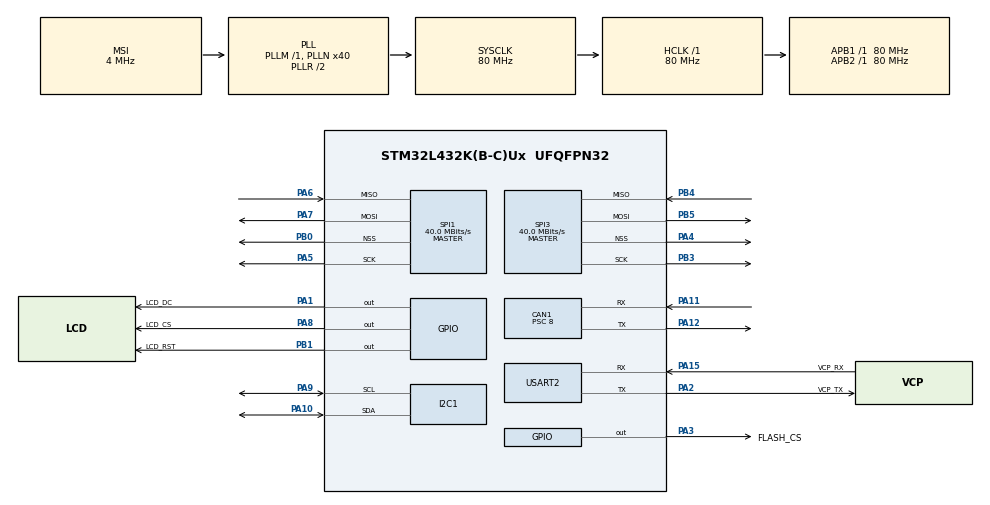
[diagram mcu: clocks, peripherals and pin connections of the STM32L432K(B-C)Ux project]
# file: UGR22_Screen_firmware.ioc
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Mcu.Family=STM32L4
Dma.SPI1_TX.1.Priority=DMA_PRIORITY_LOW
VP_RCC_LSE.Mode=CRS SYNC Source LSE
PA6.Mode=Full_Duplex_Master
RCC.CortexFreq_Value=80000000
SPI3.Direction=SPI_DIRECTION_2LINES
SPI3.VirtualType=VM_MASTER
SPI1.VirtualType=VM_MASTER
SPI3.NSSPMode=SPI_NSS_PULSE_ENABLE
PA0.GPIO_Label=MCO [High speed clock in]
Dma.SPI1_TX.1.PeriphInc=DMA_PINC_DISABLE
PA11.Mode=Master
PA15\ (JTDI).Signal=USART2_RX
PC15-OSC32_OUT\ (PC15).Mode=LSE-External-Oscillator
RCC.SYSCLKSource=RCC_SYSCLKSOURCE_PLLCLK
ProjectManager.StackSize=0x400
PB3\ (JTDO-TRACESWO).Signal=SPI3_SCK
PC14-OSC32_IN\ (PC14).Mode=LSE-External-Oscillator
NVIC.DMA1_Channel3_IRQn=true\:0\:0\:false\:false\:true\:false\:true
PA14\ (JTCK-SWCLK).Signal=SYS_JTCK-SWCLK
PA15\ (JTDI).Mode=Asynchronous
PA12.Signal=CAN1_TX
PA4.Mode=NSS_Signal_Hard_Output
Dma.USART2_RX.0.Priority=DMA_PRIORITY_LOW
SPI1.Direction=SPI_DIRECTION_2LINES
SPI3.VirtualNSS=VM_NSSHARD
Dma.USART2_RX.0.PeriphDataAlignment=DMA_PDATAALIGN_BYTE
RCC.HCLKFreq_Value=80000000
RCC.APB2TimFreq_Value=80000000
SPI1.CalculateBaudRate=40.0 MBits/s
RCC.AHBFreq_Value=80000000
SPI3.DataSize=SPI_DATASIZE_8BIT
Dma.SPI1_TX.1.PeriphDataAlignment=DMA_PDATAALIGN_BYTE
RCC.HSE_VALUE=8000000
USART2.VirtualMode-Asynchronous=VM_ASYNC
RCC.PLLMUL=RCC_PLLMUL_4
Dma.USART2_RX.0.MemDataAlignment=DMA_MDATAALIGN_BYTE
Dma.SPI1_TX.1.Mode=DMA_NORMAL
PB1.GPIO_Label=LCD_RST
PB5.Mode=Full_Duplex_Master
SPI1.DataSize=SPI_DATASIZE_8BIT
Dma.USART2_RX.0.Instance=DMA1_Channel6
PA8.Signal=GPIO_Output
SPI1.VirtualNSS=VM_NSSHARD
PA0.Signal=RCC_CK_IN
CAN1.Prescaler=8
Mcu.Package=UFQFPN32
PB1.Signal=GPIO_Output
PA6.Signal=SPI1_MISO
Dma.USART2_RX.0.PeriphInc=DMA_PINC_DISABLE
SPI3.Mode=SPI_MODE_MASTER
PA2.GPIO_Label=VCP_TX
PA10.Signal=I2C1_SDA
Dma.Request1=SPI1_TX
RCC.APB1TimFreq_Value=80000000
PA13\ (JTMS-SWDIO).Signal=SYS_JTMS-SWDIO
Dma.Request0=USART2_RX
SPI1.BaudRatePrescaler=SPI_BAUDRATEPRESCALER_2
Dma.SPI1_TX.1.Instance=DMA1_Channel3
RCC.HSI48_VALUE=48000000
PA3.Signal=GPIO_Output
CAN1.CalculateTimeQuantum=100.0
PA5.Mode=Full_Duplex_Master
RCC.MSI_VALUE=4000000
PA14\ (JTCK-SWCLK).Mode=Serial_Wire
NVIC.DMA1_Channel6_IRQn=true\:0\:0\:false\:false\:true\:false\:true
Dma.SPI1_TX.1.MemInc=DMA_MINC_ENABLE
PA7.Mode=Full_Duplex_Master
PA10.Mode=I2C
Dma.USART2_RX.0.Direction=DMA_PERIPH_TO_MEMORY
PC15-OSC32_OUT\ (PC15).Signal=RCC_OSC32_OUT
PA14\ (JTCK-SWCLK).GPIO_Label=SWCLK
Dma.SPI1_TX.1.Direction=DMA_MEMORY_TO_PERIPH
Dma.USART2_RX.0.Mode=DMA_CIRCULAR
RCC.HSI16_VALUE=16000000
PA9.Mode=I2C
Dma.SPI1_TX.1.MemDataAlignment=DMA_MDATAALIGN_BYTE
PA8.GPIO_Label=LCD_CS
CAN1.BS2=CAN_BS2_2TQ
CAN1.BS1=CAN_BS1_7TQ
ProjectManager.TargetToolchain=STM32CubeIDE
PA9.Signal=I2C1_SCL
I2C1.Timing=0x10909CEC
RCC.USBFreq_Value=16000000
PA1.Signal=GPIO_Output
PA5.Signal=SPI1_SCK
PB0.Mode=NSS_Signal_Hard_Output
board=NUCLEO-L432KC
RCC.VCOOutputFreq_Value=160000000
RCC.APB2Freq_Value=80000000
SPI3.CalculateBaudRate=40.0 MBits/s
PA13\ (JTMS-SWDIO).GPIO_Label=SWDIO
SPI1.Mode=SPI_MODE_MASTER
PB3\ (JTDO-TRACESWO).Mode=Full_Duplex_Master
RCC.ADCFreq_Value=16000000
SPI3.BaudRatePrescaler=SPI_BAUDRATEPRESCALER_2
PA1.GPIO_Label=LCD_DC
PB4\ (NJTRST).Mode=Full_Duplex_Master
PA15\ (JTDI).GPIO_Label=VCP_RX
Mcu.Name=STM32L432K(B-C)Ux
Dma.USART2_RX.0.MemInc=DMA_MINC_ENABLE
PA2.Signal=USART2_TX
PA13\ (JTMS-SWDIO).Mode=Serial_Wire
PA4.Signal=SPI3_NSS
RCC.SYSCLKFreq_VALUE=80000000
PB5.Signal=SPI3_MOSI
PA12.Mode=Master
PC14-OSC32_IN\ (PC14).Signal=RCC_OSC32_IN
PA11.Signal=CAN1_RX
ProjectManager.HeapSize=0x200
RCC.HSI_VALUE=16000000
NVIC.PriorityGroup=NVIC_PRIORITYGROUP_4
RCC.PLLN=40
PA2.Mode=Asynchronous
RCC.APB1Freq_Value=80000000
PB0.Signal=SPI1_NSS
NVIC.CAN1_RX0_IRQn=true\:0\:0\:false\:false\:true\:true\:true
PA3.GPIO_Label=FLASH_CS
PA7.Signal=SPI1_MOSI
PB4\ (NJTRST).Signal=SPI3_MISO

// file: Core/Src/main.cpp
/* USER CODE BEGIN Header */
/**
  ******************************************************************************
  * @file           : main.c
  * @brief          : Main program body
  ******************************************************************************
  * @attention
  *
  * <h2><center>&copy; Copyright (c) 2020 STMicroelectronics.
  * All rights reserved.</center></h2>
  *
  * This software component is licensed by ST under BSD 3-Clause license,
  * the "License"; You may not use this file except in compliance with the
  * License. You may obtain a copy of the License at:
  *                        opensource.org/licenses/BSD-3-Clause
  *
  ******************************************************************************
  */
/* USER CODE END Header */
#include "main.h"

/* USER CODE BEGIN Includes */
//extern "C" {
//#include "MY_ILI9341.h"
//}
#include "S25FL.h"
#include "UGRScreen.h"
#include "UGRScreenField.h"
#include "Vladimir24pt.h"
#include "FreeSans20pt7b.h"
#include "FreeSans10pt7b.h"
#include "FreeSans35pt7b.h"
/* USER CODE END Includes */

/* USER CODE BEGIN PTD */

uint8_t buf[ILI9341_WIDTH*2];

uint8_t col_ready = 0;
uint8_t SPI_DMA_BUSY = 0;

static struct {
  unsigned int 	 width;
  unsigned int 	 height;
  unsigned int 	 bytes_per_pixel; /* 2:RGB16, 3:RGB, 4:RGBA */
  unsigned char	 pixel_data[40 * 30 * 2 + 1];
} meme = {
  40, 30, 2,
  "\206I\246Y\346a\346a$\061\003)\004\061$\071\205I\205I\346YGjgr\310\212\250\202\310"
  "\212g\202'j\305Y\006z\314\323\312\343\353\343\014\344J\313Gz#\071\003)#)#)\003)\343"
  "\040\342\030\303\030\343\030\343\040\245Y\252\303+\334\013\334\205I\206Q\306Q\003"
  "\061\343($\071\205I\347a'rGrGrGzgz\247\202\207\202\207\202FzFzGz\345i\310\242"
  "J\313\252\343\313\333g\202\204I\244I'b\245Q\245I\204A\245I\346Y\245Q\342"
  "\060\303\040\343(&r\014\314\013\334eAEA\004\061\003)E\071\306Y\346a\346a\306a\305Y"
  "\305Y\305Y\305Y\345a\006j\006j\006b\006jGzgz\006r\250\232)\273\350\242\006j\247\202f"
  "z\345a\204IDAC\071$A\205Q&r\310\222Gr$A\003\071\250\222\313\323eI\004\071$\071eA"
  "\246Q\246Y\245Y\245Y\205Q\205I\204QdIDIdI\245Q\205Q\204I\245Y\006jgzGr&r\310"
  "\232\351\232\250\212\250\212gz\006b\245QCA$A\004\071$\071#A\204ag\212\250\222\006"
  "jcQJ\263EAD\071\205I\205Q\205Q\205Q\205I\204I\245Q\245Q\245QdIdIDIDICACA\204"
  "I\245Q\006jhz&rg\202\310\212\310\212gzgrFj&j\305a\204QdICA#\071$AeQ\346qG\202"
  "\245a\351\222eAeIeIeIeIDAeI\246YGr*\223\253\253\354\253\253\233gr\204IC\071"
  "D\071DA\204I\305Y&jfz\207\202\250\212\247\202Fr\247\202\211\253l\314.\335"
  "o\335\215\304)\233\305adIdI\244Q\006rgz\011\213\205AeADAD\071$\061\003\061D\071\205"
  "AGb\210r\310z\011\203j\213\213\213Gb#\071\003\061#\071dA\244I\345Y&r\207\202\350"
  "\212\247\202\207\202\212\263,\324L\314\315\274/\275\256\264\313\253*\223"
  "\305YDA\205I\306a'j\251r\003!$!e\061\343\040\343\040\003!\343\040\003)$)D)$)\004!\003)"
  "\343\040\343\040\303\040\343(#\061d\071\245I\345Q\346ah\202\011\223\207\202\006j"
  "\245Q\003\071\004\061\303\040\343\040\003!\003!\003!\343\030\344\030\004!\303\030\303\040\343"
  "\040\004)\004!\004\031\004)\205\071\347Q\347Y\010b\007Z\306I\206\071HJ\205\061\305\071\204"
  "\061$)\003)\343\040\343\040\204\061\210JhJ\251ZGZ\003)\003!D\061d\061D)d\061\245\071\245"
  "I'b\250rGb\245A$!\003!\343\030\302\030eI\205A\343\040$)$\061D\071E\071\205A\003)\343"
  "\040\303\030\306\061\306\061\253{\314\203\352b\245A\205A\205\071\006R\207r\310\212"
  "\247z&RD)\246\071\205\061\343\030\343\030\343\030iJ\305\071\210R&J\345A\246AD\061"
  "\003!\306A\206\071\307Y\347Ye\071\346A\246IfA\206I\347Y\346Q\007Zhr\210r\350\202"
  "\314\253\313\253\014\264\313\243Gb\210b\350\202I\253\013\324L\324\254\233g"
  "b\313\243\011\213\250\202+\213+\203\311r\012{*{k{\213\203\012shZ\005Z\314\253"
  "\245A\347Q\306Q\306I\306I\306Y\346a\006b\346a\007jgz\250\212I\243,\324\315\344"
  "\015\335\015\325\016\325\310r\210rj\263\013\324.\355\016\345\254\233\250jo\355"
  "\015\345+\304\212\263\350\232\010\233\350\222\011\223\310\212\206z\350z\212"
  "\233\252\243\215\314\310rj\233hr\214\223'j\213\263j\303J\263\011\253J\273"
  "\313\313,\324\215\344\315\344\355\344\314\334\214\334m\314\245IFj\353\323"
  "\214\344\217\355\217\355gj\245\071\014\304l\344\316\354\016\355.\355.\345\015"
  "\335\254\314\354\324m\315\216\325n\325K\264o\325I{,\344\314\303K\243*\213"
  "\354\303l\354l\354l\354\215\354,\344\313\323\253\303\212\263j\263\010\253"
  "\250\222\006j\205\071\210z\252\323\312\333l\354\255\354\212\253\306A\347YG\202"
  "g\222\011\253\313\303l\334\315\344\254\344\355\334\014\325\014\315\015\315\312"
  "\243\352\233l\244\351\272\012\303k\313\312\242\346i\213\253,\324m\334L\334"
  "\212\303\011\253\210\212hrGr\345Y\204A\305Q\006j\210\222\351\262\253\323m\354"
  "\255\344\255\334\313\273\012\223\245I\245I\346a\006rg\212\247\242)\273\212\303"
  "\313\313\313\313)\233gr\253\243l\314(\222H\232H\232\210\232\251\232'r\346"
  "a\306Y\346Y\346a\306Y\346Y\306Q\305Q\245I$I\246a\305i\305ag\202*\273,\334"
  "\317\344m\344\013\354\015\344\351\232dADAdA\204I\245Q\305Y\006jGzgzI\233\313"
  "\303\353\313\352\313\306q\346y\007z\007z\347q\306i\205YdQDI$A$A$A#ADA#\071\343"
  "\070$ADIdI\346aG\212\210\232\351\252\011\263\011\273\254\313\352\242#A\004\071"
  "\003\071\003\071\003\071$AdI\346af\202(\253\211\303\251\313\252\323\205Y\205a\246"
  "i\306i\306a\306aDI#\071$\071$\071\004\061$\071\245I\246I\003\061$\061$A\004\071\004\071#A"
  "DQ\306i\007z\007r\245Y#I\351\202\306Q\343(\003\061#\071#\071\003\071\003\071#A\245Q\006r\247"
  "\232I\303j\323EQeY\245a\347q\007j\346a$\071\003)\004)\343\040\303\030\343\040\343\040"
  "\343\040\302\030\303\030\302\030\303\030\343\040\343(\003\061\003\061\343(\343(\003)\205"
  "AGjgjD\061\343\040\342\040$\071$\071$\071\003\071#A\205YFr\247\232\011\273DQeQ\245"
  "a\007r'r\205I\003)\303\030\303\030\303\030\303\030\343\030\303\030\303\030\302\030\303"
  "\030\303\030\303\020\303\030\303\030\303\030\303\030\343\030\343\040D\071\205I\245"
  "I\305Q\245I\205AD\071\302\040\343\040D\071$A$ADI\305aFzf\212DIdQ\306iGz\007b\003"
  "\061\302\030\303\030\343\030\003!D)$)\004)\004)\343\040\003!\343\040\303\040\242\040\242"
  "\030\303\030\343\040e\071\306Q\205I\244I\006Z\245AD\061d\071#)\343\030\303\030\003)D"
  "A$A#AdQ\005j&zDIdQ\306iH\202\246Q\003!\343\040\004)\004\061\004\061e\071\206\071\206\071"
  "\246\071\246\071\205\061\306AD\061\246\071e\071D\061\245A\245AGZ\351rM\234M\244"
  ".\224e\061\303\030\303\030\303\040\303\030\303\040\004\071$\071$ADI\305a\346iDIeQ\346"
  "ihz\245Q$\061$)d\071D\071\004\061\344\060\004\061D\061e\071e\061\205\071\306\071\306\071"
  "\306\071\306A\007J\210R\311b,s\012k)s\350jhR\343\040\342\040\343\040\344\040\303"
  "\030\303\040\004\061#\071#\071DI\205Y\205aEIeQ&r\010\243-\314\250\212\351\202*\223"
  "\012\213$\071\004\061\344\060\343\060\343($)\205\061\205\061\205\061\306A\211Z\351"
  "jj{\253\213\013\224\256\254\216\254P\315\314\263\352\272\311\232\342\070\343"
  "\040\302\040\343\040\343(\003\061#\071dI\205YdQeI\245Y\250\222\014\324\215\354L\324"
  "\207\212gzj\243\305Q$\061$\061\003\061\343\060\343\060$A\007j\007j\311r\213\203k\203"
  "\216\254\014\244\017\305\316\314L\314\213\323J\343j\333\312\313J\243&b&bFb"
  "CA$I\245Y\345a\245YdQEI\245QG\202\313\313\212\303\014\314j\243&j\250\212\254"
  "\253\250rDA\003\061#\061#\071DQ&\202\310\252*\303*\303)\303*\313j\323\253\333"
  "\213\343J\343\351\322\011\273\013\314l\334I\233\345Y%r\313\273j\253\310\212"
  "Fr\006j\245Y\245QD\071eA\205Y\210\212\351\232\250\222\011\233\006bgrI\243j\253"
  "j\243J\243J\233\210z\305YDI#I#Q\205i&zG\212h\212G\202\346q\006r)\233l\314\254"
  "\334L\324\207z\305Q\350\212\013\304\312\273)\233Fr\345Y\305QFbD\071D\071DA\205"
  "Q(r\007j\006b\245Q\346Qgr\310\212j\253J\263\213\263\212\273J\263J\253\011\243"
  ")\253\011\243)\243I\253j\253\313\273\353\303\013\324+\324l\334,\324\350\222"
  "\204I\204Ij\243\013\304\212\253\207zFb%ZFZ\352jD\071D\071D\071DA\205I\346Q\245"
  "A\245Ad\071eA\305Y\250\202\250\212\012\243*\253k\273I\253j\263I\273I\303\211"
  "\313\353\323\013\334\013\334\013\324,\344\352\323\353\313k\253\006b\205A\207r"
  "\353\273\212\243\350\202fjFj&Z\305Q\261\254D\071D\071D\071d\071dA\205Ad\071#)"
  "\003)\003)\245I\346Y'j\250\202\311\212\012\243\010\233)\253\011\253\351\242\011\253"
  "j\273I\263\212\303j\303\212\313\252\303\350\232\305YC\071$\061\010\213i\233"
  "\350\202\207jfb%Z\204I\205a\245y",
};

unsigned char black[40 * 30 * 2 + 1];

struct DTA_CAN_Data {
	int16_t RPM = 0;
	int16_t TPS = 0;
	int16_t wTemp = 0;
	int16_t aTemp = 0;
	int16_t mapKpa = 0;
	int16_t lambdax1000 = 0;
	int16_t KPHx10 = 0;
	int16_t oKpa = 0;
	int16_t fuelKpa = 0;
	int16_t oTemp = 0;
	int16_t voltsx10 = 0;
	int16_t fuelConL_100kmx10 = 0;
	int16_t gear = 0;
	int16_t advanceDegx10 = 0;
	int16_t injectionMsx100 = 0;
	int16_t fuelConL_Hrx10 = 0;
	int16_t ana1mV = 0;
	int16_t ana2mV = 0;
	int16_t ana3mV = 0;
	int16_t camAdvx10 = 0;
	int16_t camTargx10 = 0;
	int16_t camPWMx10 = 0;
	int16_t crankErr = 0;
	int16_t camErr = 0;
	int16_t cam2advx10 = 0;
	int16_t cam2Targx10 = 0;
	int16_t cam2PWMx10 = 0;
	int16_t extern5V = 0;
	int16_t injDutyCyc = 0;
	int16_t lambdaPIDTarg = 0;
	int16_t lambdaPIDAdj = 0;
	int16_t ecuSwitches = 0;
	int16_t rdSpeed = 0;
	int16_t rudSpeed = 0;
	int16_t ldSpeed = 0;
	int16_t ludSpeed = 0;
	int16_t rightLambda = 0;
};

struct DTA_CAN_Data ecuData;

CAN_RxHeaderTypeDef pRxHeader; //declare header for message reception
CAN_RxHeaderTypeDef rxCopy;
uint8_t rxData[8];

/* USER CODE END PTD */

CAN_HandleTypeDef hcan1;

I2C_HandleTypeDef hi2c1;

SPI_HandleTypeDef hspi1;
SPI_HandleTypeDef hspi3;
DMA_HandleTypeDef hdma_spi1_tx;

UART_HandleTypeDef huart2;
DMA_HandleTypeDef hdma_usart2_rx;

/* USER CODE BEGIN PV */

void HAL_UART_RxHalfCpltCallback(UART_HandleTypeDef *huart)
{
//	col_ready = 1;
	HAL_SPI_Transmit_DMA(&hspi3, buf, ILI9341_WIDTH);
}

void HAL_UART_RxCpltCallback(UART_HandleTypeDef *huart)
{
//	col_ready = 2;
	HAL_SPI_Transmit_DMA(&hspi3, buf+ILI9341_WIDTH, ILI9341_WIDTH);
}

void HAL_SPI_TxCpltCallback(SPI_HandleTypeDef *hspi)
{
	col_ready++;
}

void HAL_CAN_RxFifo0MsgPendingCallback(CAN_HandleTypeDef *hcan)
{
	HAL_CAN_GetRxMessage(&hcan1, CAN_RX_FIFO0, &pRxHeader, rxData);
	//When in filter list mode, can hearders have no info for some reason, other than what item of the list they met, so looking for ID doesnt work
	if(pRxHeader.ExtId == 0x2000){
		ecuData.RPM = rxData[1] << 8 | rxData[0];
		ecuData.TPS = rxData[3] << 8 | rxData[2];
		ecuData.wTemp = rxData[5] << 8 | rxData[4];
		ecuData.aTemp = rxData[7] << 8 | rxData[6];
	}
	if(pRxHeader.ExtId == 0x2001){
		ecuData.mapKpa = rxData[1] << 8 | rxData[0];
		ecuData.lambdax1000 = rxData[3] << 8 | rxData[2];
		ecuData.KPHx10 = rxData[5] << 8 | rxData[4];
		ecuData.oKpa = rxData[7] << 8 | rxData[6];
	}
	if(pRxHeader.ExtId == 0x2002){
		ecuData.fuelKpa = rxData[1] << 8 | rxData[0];
		ecuData.oTemp = rxData[3] << 8 | rxData[2];
		ecuData.voltsx10 = rxData[5] << 8 | rxData[4];
		ecuData.fuelConL_100kmx10 = rxData[7] << 8 | rxData[6];
	}
	if(pRxHeader.ExtId == 0x2003){
		ecuData.gear = rxData[1] << 8 | rxData[0];
		ecuData.advanceDegx10 = rxData[3] << 8 | rxData[2];
		ecuData.injectionMsx100 = rxData[5] << 8 | rxData[4];
		ecuData.fuelConL_Hrx10 = rxData[7] << 8 | rxData[6];
	}
	if(pRxHeader.ExtId == 0x2004){
		ecuData.ana1mV = rxData[1] << 8 | rxData[0];
		ecuData.ana2mV = rxData[3] << 8 | rxData[2];
		ecuData.ana3mV = rxData[5] << 8 | rxData[4];
		ecuData.camAdvx10 = rxData[7] << 8 | rxData[6];
	}
	if(pRxHeader.ExtId == 0x2005){
		ecuData.camTargx10 = rxData[1] << 8 | rxData[0];
		ecuData.camPWMx10 = rxData[3] << 8 | rxData[2];
		ecuData.crankErr = rxData[5] << 8 | rxData[4];
		ecuData.camErr = rxData[7] << 8 | rxData[6];
	}
	if(pRxHeader.ExtId == 0x2006){
		ecuData.cam2advx10 = rxData[1] << 8 | rxData[0];
		ecuData.cam2Targx10 = rxData[3] << 8 | rxData[2];
		ecuData.cam2PWMx10 = rxData[5] << 8 | rxData[4];
		ecuData.extern5V = rxData[7] << 8 | rxData[6];
	}
	if(pRxHeader.ExtId == 0x2007){
		ecuData.injDutyCyc = rxData[1] << 8 | rxData[0];
		ecuData.lambdaPIDTarg = rxData[3] << 8 | rxData[2];
		ecuData.lambdaPIDAdj = rxData[5] << 8 | rxData[4];
		ecuData.ecuSwitches = rxData[7] << 8 | rxData[6];
	}
	if(pRxHeader.ExtId == 0x2008){
		ecuData.rdSpeed = rxData[1] << 8 | rxData[0];
		ecuData.rudSpeed = rxData[3] << 8 | rxData[2];
		ecuData.ldSpeed = rxData[5] << 8 | rxData[4];
		ecuData.ludSpeed = rxData[7] << 8 | rxData[6];
	}
	if(pRxHeader.ExtId == 0x2001){
		ecuData.rightLambda = rxData[1] << 8 | rxData[0];
	}
}

/* USER CODE END PV */

void SystemClock_Config(void);
static void MX_GPIO_Init(void);
static void MX_DMA_Init(void);
static void MX_USART2_UART_Init(void);
static void MX_SPI3_Init(void);
static void MX_SPI1_Init(void);
static void MX_CAN1_Init(void);
static void MX_I2C1_Init(void);

/* USER CODE BEGIN 0 */
S25FL flash;

CAN_FilterTypeDef sFilterConfig; //declare CAN filter structure

void drawGrid(){
	for(int w = 20; w < 240; w+= 20){
		ILI9341_drawLine(0, w, 319, w, COLOR_ORANGE);
	}
	for(int h = 20; h < 320; h+= 20){
		ILI9341_drawLine(h, 0, h, 239, COLOR_ORANGE);
	}
}
/* USER CODE END 0 */

int main(void)
{

  /* MCU Configuration--------------------------------------------------------*/

  /* Reset of all peripherals, Initializes the Flash interface and the Systick. */
  HAL_Init();

  /* Configure the system clock */
  SystemClock_Config();

  /* Initialize all configured peripherals */
  MX_GPIO_Init();
  MX_DMA_Init();
  MX_USART2_UART_Init();
  MX_SPI3_Init();
  MX_SPI1_Init();
  MX_CAN1_Init();
  MX_I2C1_Init();
  /* USER CODE BEGIN 2 */

  //Init LCD
  UGR_Screen screen = UGR_Screen(&hspi1, LCD_CS_GPIO_Port, LCD_CS_Pin, LCD_DC_GPIO_Port, LCD_DC_Pin, LCD_RST_GPIO_Port, LCD_RST_Pin);

  //Init Flash
  flash = S25FL(&hspi3, FLASH_CS_GPIO_Port, FLASH_CS_Pin);
  flash.begin();

  //DEBUG print flash max address
  uint32_t maxadd = flash.getMaxAddress();
  char str[128];
  sprintf(str, "maxadd: %d\n\r", maxadd);
  HAL_UART_Transmit(&huart2, (uint8_t*)str, strlen(str), HAL_MAX_DELAY);

  //CAN test code
  //So in 32 bit mode you have to split the 32 bit filter ID into 2 16 bit segments, to be put into IdHigh and IdLow... which are both 32 bit??? REEEE
  	uint32_t canFiltMask 	= 0x1FFFFFF0;
  	uint32_t canFiltMask_STD = canFiltMask & 0x7FF; //Separate mask into its standard and extended parts
  	uint32_t canFiltMask_IDE = canFiltMask >> 11;
  	uint32_t canFiltID 		= 0x2000;
  	uint32_t canFiltID_STD = canFiltID & 0x7FF; //Separate ID into its standard and extended parts
	uint32_t canFiltID_IDE = canFiltID >> 11;

	sFilterConfig.FilterFIFOAssignment=CAN_FILTER_FIFO0; //set fifo assignment
	sFilterConfig.FilterBank = 0;
	sFilterConfig.FilterIdHigh = (canFiltID_STD << 5) & (canFiltID_IDE >> 13);
    sFilterConfig.FilterIdLow =  (canFiltID_IDE << 3) & 0x4;
	sFilterConfig.FilterMaskIdHigh = (canFiltMask_STD << 5) & (canFiltMask_IDE >> 13);
	sFilterConfig.FilterMaskIdLow =  (canFiltMask_IDE << 3) & 0x4;
	sFilterConfig.FilterScale = CAN_FILTERSCALE_32BIT; //set filter scale
	sFilterConfig.FilterMode = CAN_FILTERMODE_IDMASK;
	sFilterConfig.FilterActivation=ENABLE;

	HAL_CAN_ConfigFilter(&hcan1, &sFilterConfig); //configure CAN filter

	HAL_CAN_Start(&hcan1); //start CAN
	HAL_CAN_ActivateNotification(&hcan1, CAN_IT_RX_FIFO0_MSG_PENDING); //enable interrupts

  /* USER CODE END 2 */

  /* Infinite loop */
  /* USER CODE BEGIN WHILE */

  //Convert stored image to usable format
  //fucking gimp is useless, this is the easiest way I can get gimp generated images to fucking work!
  uint8_t c;
  for(uint32_t i = 0; i < meme.height * meme.width * meme.bytes_per_pixel; i+=2){
	  c = meme.pixel_data[i];
	  meme.pixel_data[i] = meme.pixel_data[i+1];
	  meme.pixel_data[i+1] = c;
  }

  ILI9341_Fill(COLOR_BLACK);
  uint32_t xpos = 0;
  uint32_t ypos = 0;
//  ILI9341_SetCursorPosition(xpos, ypos, xpos + meme.width - 1,  ypos + meme.height - 1);
//  HAL_GPIO_WritePin(LCD_DC_GPIO_Port, LCD_DC_Pin, GPIO_PIN_SET);
//  HAL_SPI_Transmit_DMA(&hspi1, meme.pixel_data, meme.height * meme.width * meme.bytes_per_pixel);
//
//  while(HAL_SPI_GetState(&hspi1) != HAL_SPI_STATE_READY);
//
//  ILI9341_SetCursorPosition(ILI9341_HEIGHT - meme.width, ILI9341_WIDTH - meme.height, ILI9341_HEIGHT - 1,  ILI9341_WIDTH - 1);
//  HAL_GPIO_WritePin(LCD_DC_GPIO_Port, LCD_DC_Pin, GPIO_PIN_SET);
//  HAL_SPI_Transmit_DMA(&hspi1, meme.pixel_data, meme.height * meme.width * meme.bytes_per_pixel);
//
//  HAL_Delay(1);
//  while(HAL_SPI_GetState(&hspi1) != HAL_SPI_STATE_READY);

  UGR_ScreenField rpmTitleField = 			UGR_ScreenField(2, 0, "RPM", 				FreeSans10pt7b, &screen);
  UGR_ScreenField rpmField = 				UGR_ScreenField(10, 20, "", 				FreeSans20pt7b, &screen);
  UGR_ScreenField mphTitleField = 			UGR_ScreenField(2, 60, "MPH", 				FreeSans10pt7b, &screen);
  UGR_ScreenField mphField = 				UGR_ScreenField(10, 80, "", 				FreeSans20pt7b, &screen);
  UGR_ScreenField oilTempTitleField = 		UGR_ScreenField(2, 120, "Oil C", 			FreeSans10pt7b, &screen);
  UGR_ScreenField oilTempField = 			UGR_ScreenField(10, 140, "", 				FreeSans20pt7b, &screen);
  UGR_ScreenField oilKpaTitleField = 		UGR_ScreenField(2, 180, "Oil Kpa", 			FreeSans10pt7b, &screen);
  UGR_ScreenField oilKpaField = 			UGR_ScreenField(10, 200, "", 				FreeSans20pt7b, &screen);
  UGR_ScreenField waterTempTitleField = 	UGR_ScreenField(260, 0, "Cool C", 			FreeSans10pt7b, &screen);
  UGR_ScreenField waterTempField = 			UGR_ScreenField(240, 20, "", 				FreeSans20pt7b, &screen);
  UGR_ScreenField voltsTitleField = 		UGR_ScreenField(260, 60, "Volts", 			FreeSans10pt7b, &screen);
  UGR_ScreenField voltsField = 				UGR_ScreenField(240, 80, "", 				FreeSans20pt7b, &screen);
  UGR_ScreenField throttleTitleField = 		UGR_ScreenField(260, 120, "TPS", 			FreeSans10pt7b, &screen);
  UGR_ScreenField throttleField = 			UGR_ScreenField(240, 140, "", 				FreeSans20pt7b, &screen);

//  UGR_ScreenField brakeFrontKpaTitleField = UGR_ScreenField(200, 25, "BRAKE F Kpa", 		FreeSans10pt7b, &screen);
//  UGR_ScreenField brakeFrontKpaField = 		UGR_ScreenField(200, 40, "", 				FreeSans20pt7b, &screen);
//  UGR_ScreenField brakeRearKpaTitleField = 	UGR_ScreenField(200, 55, "BRAKE R Kpa", 	FreeSans10pt7b, &screen);
//  UGR_ScreenField brakeRearKpaField = 		UGR_ScreenField(200, 70, "", 				FreeSans20pt7b, &screen);

  UGR_ScreenField gearTitleField = 			UGR_ScreenField(130, 20, "Gear", 			FreeSans10pt7b, &screen);
  UGR_ScreenField gearField = 				UGR_ScreenField(130, 45, "", 				FreeSans35pt7b, &screen);

  int can_mph = 0;
  int can_gear = 0;
  char tmp_str[9];

//  drawGrid();

  //for fit testing of fields while CAN is disconnected
  ecuData.RPM = 12000;
  ecuData.KPHx10 = 1200;
  ecuData.oTemp = 112;
  ecuData.oKpa = 650;
  ecuData.voltsx10 = 135;
  ecuData.wTemp = 101;
  ecuData.TPS = 100;
  ecuData.gear = 5;

  while (1)
  {
	  sprintf(tmp_str, "%d", ecuData.RPM);
	  rpmField.update(tmp_str);
	  sprintf(tmp_str, "%d", (int)((float)ecuData.KPHx10 * 0.0621371));
	  mphField.update(tmp_str);
	  sprintf(tmp_str, "%d", ecuData.gear);
	  gearField.update(tmp_str);
	  sprintf(tmp_str, "%d", ecuData.oTemp);
	  oilTempField.update(tmp_str);
	  sprintf(tmp_str, "%d", ecuData.oKpa);
	  oilKpaField.update(tmp_str);
	  sprintf(tmp_str, "%d.%d", ecuData.voltsx10 / 10, ecuData.voltsx10 % 10);
	  voltsField.update(tmp_str);
	  sprintf(tmp_str, "%d", ecuData.wTemp);
	  waterTempField.update(tmp_str);
	  sprintf(tmp_str, "%d", ecuData.TPS);
	  throttleField.update(tmp_str);

    /* USER CODE END WHILE */

  }
}

void SystemClock_Config(void)
{
  RCC_OscInitTypeDef RCC_OscInitStruct = {0};
  RCC_ClkInitTypeDef RCC_ClkInitStruct = {0};
  RCC_PeriphCLKInitTypeDef PeriphClkInit = {0};
  RCC_CRSInitTypeDef RCC_CRSInitStruct = {0};

  /** Configure LSE Drive Capability
  */
  HAL_PWR_EnableBkUpAccess();
  __HAL_RCC_LSEDRIVE_CONFIG(RCC_LSEDRIVE_LOW);
  /** Initializes the RCC Oscillators according to the specified parameters
  * in the RCC_OscInitTypeDef structure.
  */
  RCC_OscInitStruct.OscillatorType = RCC_OSCILLATORTYPE_LSE|RCC_OSCILLATORTYPE_MSI;
  RCC_OscInitStruct.LSEState = RCC_LSE_ON;
  RCC_OscInitStruct.MSIState = RCC_MSI_ON;
  RCC_OscInitStruct.MSICalibrationValue = 0;
  RCC_OscInitStruct.MSIClockRange = RCC_MSIRANGE_6;
  RCC_OscInitStruct.PLL.PLLState = RCC_PLL_ON;
  RCC_OscInitStruct.PLL.PLLSource = RCC_PLLSOURCE_MSI;
  RCC_OscInitStruct.PLL.PLLM = 1;
  RCC_OscInitStruct.PLL.PLLN = 40;
  RCC_OscInitStruct.PLL.PLLP = RCC_PLLP_DIV7;
  RCC_OscInitStruct.PLL.PLLQ = RCC_PLLQ_DIV2;
  RCC_OscInitStruct.PLL.PLLR = RCC_PLLR_DIV2;
  if (HAL_RCC_OscConfig(&RCC_OscInitStruct) != HAL_OK)
  {
    Error_Handler();
  }
  /** Initializes the CPU, AHB and APB buses clocks
  */
  RCC_ClkInitStruct.ClockType = RCC_CLOCKTYPE_HCLK|RCC_CLOCKTYPE_SYSCLK
                              |RCC_CLOCKTYPE_PCLK1|RCC_CLOCKTYPE_PCLK2;
  RCC_ClkInitStruct.SYSCLKSource = RCC_SYSCLKSOURCE_PLLCLK;
  RCC_ClkInitStruct.AHBCLKDivider = RCC_SYSCLK_DIV1;
  RCC_ClkInitStruct.APB1CLKDivider = RCC_HCLK_DIV1;
  RCC_ClkInitStruct.APB2CLKDivider = RCC_HCLK_DIV1;

  if (HAL_RCC_ClockConfig(&RCC_ClkInitStruct, FLASH_LATENCY_4) != HAL_OK)
  {
    Error_Handler();
  }
  PeriphClkInit.PeriphClockSelection = RCC_PERIPHCLK_USART2|RCC_PERIPHCLK_I2C1;
  PeriphClkInit.Usart2ClockSelection = RCC_USART2CLKSOURCE_PCLK1;
  PeriphClkInit.I2c1ClockSelection = RCC_I2C1CLKSOURCE_PCLK1;
  if (HAL_RCCEx_PeriphCLKConfig(&PeriphClkInit) != HAL_OK)
  {
    Error_Handler();
  }
  /** Configure the main internal regulator output voltage
  */
  if (HAL_PWREx_ControlVoltageScaling(PWR_REGULATOR_VOLTAGE_SCALE1) != HAL_OK)
  {
    Error_Handler();
  }
  /** Enable MSI Auto calibration
  */
  HAL_RCCEx_EnableMSIPLLMode();
  /** Enable the SYSCFG APB clock
  */
  __HAL_RCC_CRS_CLK_ENABLE();
  /** Configures CRS
  */
  RCC_CRSInitStruct.Prescaler = RCC_CRS_SYNC_DIV1;
  RCC_CRSInitStruct.Source = RCC_CRS_SYNC_SOURCE_LSE;
  RCC_CRSInitStruct.Polarity = RCC_CRS_SYNC_POLARITY_RISING;
  RCC_CRSInitStruct.ReloadValue = __HAL_RCC_CRS_RELOADVALUE_CALCULATE(48000000,32768);
  RCC_CRSInitStruct.ErrorLimitValue = 34;
  RCC_CRSInitStruct.HSI48CalibrationValue = 32;

  HAL_RCCEx_CRSConfig(&RCC_CRSInitStruct);
}

static void MX_CAN1_Init(void)
{

  hcan1.Instance = CAN1;
  hcan1.Init.Prescaler = 8;
  hcan1.Init.Mode = CAN_MODE_NORMAL;
  hcan1.Init.SyncJumpWidth = CAN_SJW_1TQ;
  hcan1.Init.TimeSeg1 = CAN_BS1_7TQ;
  hcan1.Init.TimeSeg2 = CAN_BS2_2TQ;
  hcan1.Init.TimeTriggeredMode = DISABLE;
  hcan1.Init.AutoBusOff = DISABLE;
  hcan1.Init.AutoWakeUp = DISABLE;
  hcan1.Init.AutoRetransmission = DISABLE;
  hcan1.Init.ReceiveFifoLocked = DISABLE;
  hcan1.Init.TransmitFifoPriority = DISABLE;
  if (HAL_CAN_Init(&hcan1) != HAL_OK)
  {
    Error_Handler();
  }

}

static void MX_I2C1_Init(void)
{

  hi2c1.Instance = I2C1;
  hi2c1.Init.Timing = 0x10909CEC;
  hi2c1.Init.OwnAddress1 = 0;
  hi2c1.Init.AddressingMode = I2C_ADDRESSINGMODE_7BIT;
  hi2c1.Init.DualAddressMode = I2C_DUALADDRESS_DISABLE;
  hi2c1.Init.OwnAddress2 = 0;
  hi2c1.Init.OwnAddress2Masks = I2C_OA2_NOMASK;
  hi2c1.Init.GeneralCallMode = I2C_GENERALCALL_DISABLE;
  hi2c1.Init.NoStretchMode = I2C_NOSTRETCH_DISABLE;
  if (HAL_I2C_Init(&hi2c1) != HAL_OK)
  {
    Error_Handler();
  }
  /** Configure Analogue filter
  */
  if (HAL_I2CEx_ConfigAnalogFilter(&hi2c1, I2C_ANALOGFILTER_ENABLE) != HAL_OK)
  {
    Error_Handler();
  }
  /** Configure Digital filter
  */
  if (HAL_I2CEx_ConfigDigitalFilter(&hi2c1, 0) != HAL_OK)
  {
    Error_Handler();
  }

}

static void MX_SPI1_Init(void)
{

  /* SPI1 parameter configuration*/
  hspi1.Instance = SPI1;
  hspi1.Init.Mode = SPI_MODE_MASTER;
  hspi1.Init.Direction = SPI_DIRECTION_2LINES;
  hspi1.Init.DataSize = SPI_DATASIZE_8BIT;
  hspi1.Init.CLKPolarity = SPI_POLARITY_LOW;
  hspi1.Init.CLKPhase = SPI_PHASE_1EDGE;
  hspi1.Init.NSS = SPI_NSS_HARD_OUTPUT;
  hspi1.Init.BaudRatePrescaler = SPI_BAUDRATEPRESCALER_2;
  hspi1.Init.FirstBit = SPI_FIRSTBIT_MSB;
  hspi1.Init.TIMode = SPI_TIMODE_DISABLE;
  hspi1.Init.CRCCalculation = SPI_CRCCALCULATION_DISABLE;
  hspi1.Init.CRCPolynomial = 7;
  hspi1.Init.CRCLength = SPI_CRC_LENGTH_DATASIZE;
  hspi1.Init.NSSPMode = SPI_NSS_PULSE_ENABLE;
  if (HAL_SPI_Init(&hspi1) != HAL_OK)
  {
    Error_Handler();
  }

}

static void MX_SPI3_Init(void)
{

  /* SPI3 parameter configuration*/
  hspi3.Instance = SPI3;
  hspi3.Init.Mode = SPI_MODE_MASTER;
  hspi3.Init.Direction = SPI_DIRECTION_2LINES;
  hspi3.Init.DataSize = SPI_DATASIZE_8BIT;
  hspi3.Init.CLKPolarity = SPI_POLARITY_LOW;
  hspi3.Init.CLKPhase = SPI_PHASE_1EDGE;
  hspi3.Init.NSS = SPI_NSS_HARD_OUTPUT;
  hspi3.Init.BaudRatePrescaler = SPI_BAUDRATEPRESCALER_2;
  hspi3.Init.FirstBit = SPI_FIRSTBIT_MSB;
  hspi3.Init.TIMode = SPI_TIMODE_DISABLE;
  hspi3.Init.CRCCalculation = SPI_CRCCALCULATION_DISABLE;
  hspi3.Init.CRCPolynomial = 7;
  hspi3.Init.CRCLength = SPI_CRC_LENGTH_DATASIZE;
  hspi3.Init.NSSPMode = SPI_NSS_PULSE_ENABLE;
  if (HAL_SPI_Init(&hspi3) != HAL_OK)
  {
    Error_Handler();
  }

}

static void MX_USART2_UART_Init(void)
{

  huart2.Instance = USART2;
  huart2.Init.BaudRate = 115200;
  huart2.Init.WordLength = UART_WORDLENGTH_8B;
  huart2.Init.StopBits = UART_STOPBITS_1;
  huart2.Init.Parity = UART_PARITY_NONE;
  huart2.Init.Mode = UART_MODE_TX_RX;
  huart2.Init.HwFlowCtl = UART_HWCONTROL_NONE;
  huart2.Init.OverSampling = UART_OVERSAMPLING_16;
  huart2.Init.OneBitSampling = UART_ONE_BIT_SAMPLE_DISABLE;
  huart2.AdvancedInit.AdvFeatureInit = UART_ADVFEATURE_NO_INIT;
  if (HAL_UART_Init(&huart2) != HAL_OK)
  {
    Error_Handler();
  }

}

static void MX_DMA_Init(void)
{

  /* DMA controller clock enable */
  __HAL_RCC_DMA1_CLK_ENABLE();

  /* DMA interrupt init */
  /* DMA1_Channel3_IRQn interrupt configuration */
  HAL_NVIC_SetPriority(DMA1_Channel3_IRQn, 0, 0);
  HAL_NVIC_EnableIRQ(DMA1_Channel3_IRQn);
  /* DMA1_Channel6_IRQn interrupt configuration */
  HAL_NVIC_SetPriority(DMA1_Channel6_IRQn, 0, 0);
  HAL_NVIC_EnableIRQ(DMA1_Channel6_IRQn);

}

static void MX_GPIO_Init(void)
{
  GPIO_InitTypeDef GPIO_InitStruct = {0};

  /* GPIO Ports Clock Enable */
  __HAL_RCC_GPIOC_CLK_ENABLE();
  __HAL_RCC_GPIOA_CLK_ENABLE();
  __HAL_RCC_GPIOB_CLK_ENABLE();

  /*Configure GPIO pin Output Level */
  HAL_GPIO_WritePin(GPIOA, LCD_DC_Pin|FLASH_CS_Pin|LCD_CS_Pin, GPIO_PIN_RESET);

  /*Configure GPIO pin Output Level */
  HAL_GPIO_WritePin(LCD_RST_GPIO_Port, LCD_RST_Pin, GPIO_PIN_RESET);

  /*Configure GPIO pins : LCD_DC_Pin FLASH_CS_Pin LCD_CS_Pin */
  GPIO_InitStruct.Pin = LCD_DC_Pin|FLASH_CS_Pin|LCD_CS_Pin;
  GPIO_InitStruct.Mode = GPIO_MODE_OUTPUT_PP;
  GPIO_InitStruct.Pull = GPIO_NOPULL;
  GPIO_InitStruct.Speed = GPIO_SPEED_FREQ_LOW;
  HAL_GPIO_Init(GPIOA, &GPIO_InitStruct);

  /*Configure GPIO pin : LCD_RST_Pin */
  GPIO_InitStruct.Pin = LCD_RST_Pin;
  GPIO_InitStruct.Mode = GPIO_MODE_OUTPUT_PP;
  GPIO_InitStruct.Pull = GPIO_NOPULL;
  GPIO_InitStruct.Speed = GPIO_SPEED_FREQ_LOW;
  HAL_GPIO_Init(LCD_RST_GPIO_Port, &GPIO_InitStruct);

}

void Error_Handler(void)
{
}

/************************ (C) COPYRIGHT STMicroelectronics *****END OF FILE****/
